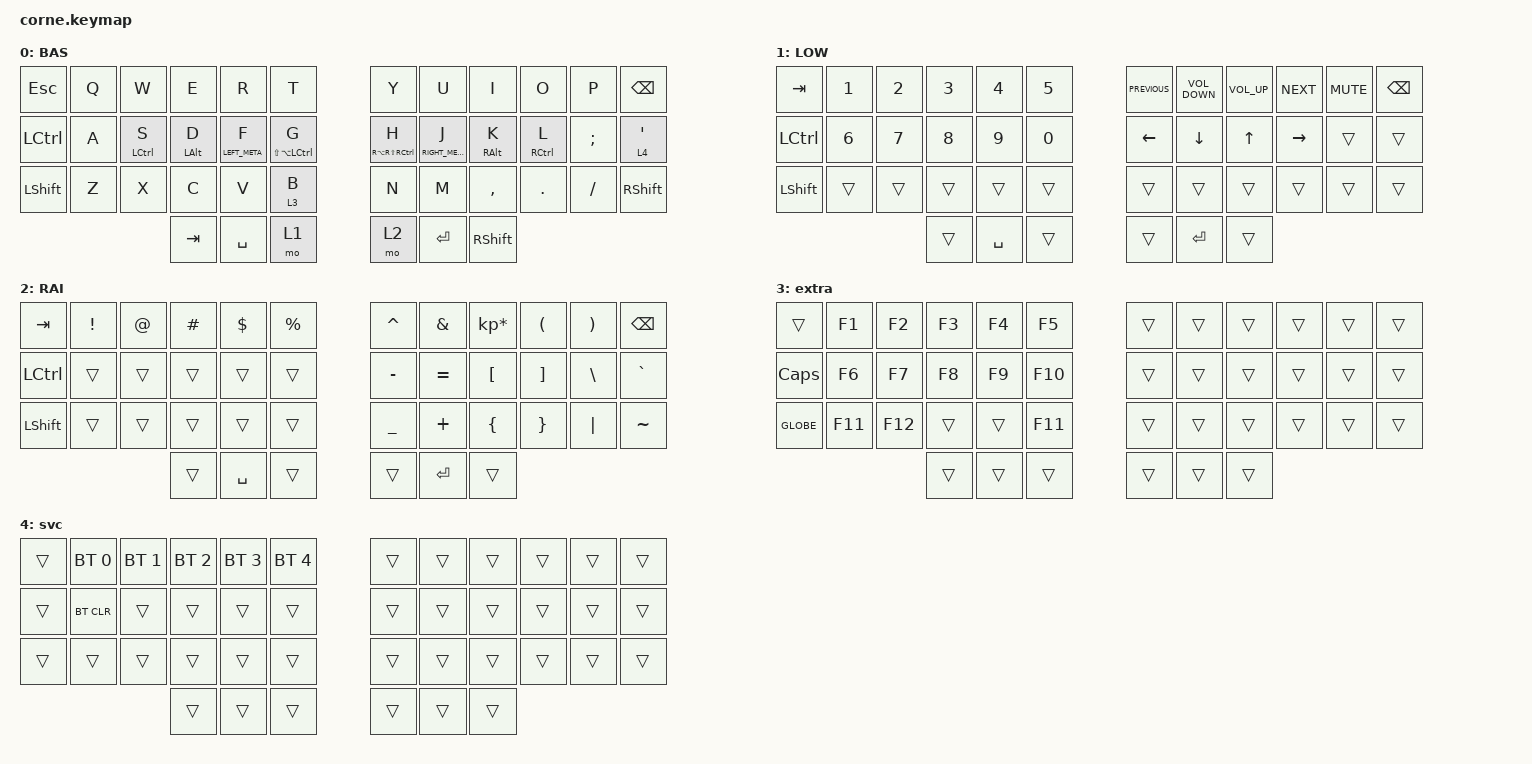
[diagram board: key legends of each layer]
/*
 * Copyright (c) 2020 The ZMK Contributors
 *
 * SPDX-License-Identifier: MIT
 */

#include <dt-bindings/led/led.h>
#include <dt-bindings/zmk/reset.h>
#include <behaviors.dtsi>
#include <dt-bindings/zmk/bt.h>
#include <dt-bindings/zmk/keys.h>

&led_strip { chain-length = <27>; };

/ {
    combos {
        compatible = "zmk,combos";

        esc {
            bindings = <&kp ESCAPE>;
            key-positions = <19 20>;
            layers = <0>;
        };

        play-pause {
            bindings = <&kp C_PLAY_PAUSE>;
            key-positions = <6 7>;
            layers = <0>;
        };

        x-nahui {
            bindings = <&kp LBKT>;
            key-positions = <10 11>;
            layers = <0>;
        };

        exclamation-mark {
            bindings = <&kp EXCLAMATION>;
            key-positions = <1 13>;
            layers = <0>;
        };

        at {
            bindings = <&kp AT_SIGN>;
            key-positions = <2 14>;
            layers = <0>;
        };

        hashtag {
            bindings = <&kp HASH>;
            key-positions = <3 15>;
            layers = <0>;
        };

        dollar {
            bindings = <&kp DOLLAR>;
            key-positions = <4 16>;
            layers = <0>;
        };

        percent {
            bindings = <&kp PERCENT>;
            key-positions = <5 17>;
            layers = <0>;
        };

        caret {
            bindings = <&kp CARET>;
            key-positions = <13 25>;
            layers = <0>;
        };

        ampersand {
            bindings = <&kp AMPERSAND>;
            key-positions = <14 26>;
            layers = <0>;
        };

        star {
            bindings = <&kp ASTERISK>;
            key-positions = <15 27>;
            layers = <0>;
        };

        par-left {
            bindings = <&kp LEFT_PARENTHESIS>;
            key-positions = <16 28>;
            layers = <0>;
        };

        par-right {
            bindings = <&kp RIGHT_PARENTHESIS>;
            key-positions = <17 29>;
            layers = <0>;
        };

        pg-up {
            bindings = <&kp PAGE_UP>;
            key-positions = <6 18>;
            layers = <0>;
        };

        pg-down {
            bindings = <&kp PAGE_DOWN>;
            key-positions = <18 30>;
            layers = <0>;
        };

        minus {
            bindings = <&kp MINUS>;
            key-positions = <7 19>;
            layers = <0>;
        };

        equals {
            bindings = <&kp EQUAL>;
            key-positions = <8 20>;
            layers = <0>;
        };

        slash {
            bindings = <&kp SLASH>;
            key-positions = <9 21>;
            layers = <0>;
        };

        backslash {
            bindings = <&kp BACKSLASH>;
            key-positions = <21 33>;
            layers = <0>;
        };

        left-bracket {
            bindings = <&kp LEFT_BRACKET>;
            key-positions = <19 31>;
            layers = <0>;
        };

        right-bracket {
            bindings = <&kp RIGHT_BRACKET>;
            key-positions = <20 32>;
            layers = <0>;
        };
    };

    keymap {
        compatible = "zmk,keymap";

        base_layer {
            display-name = "BAS";

            // -----------------------------------------------------------------------------------------
            // |  TAB |  Q  |  W  |  E  |  R  |  T  |   |  Y  |  U   |  I  |  O  |  P  | BKSP |
            // | CTRL |  A  |  S  |  D  |  F  |  G  |   |  H  |  J   |  K  |  L  |  ;  |  '   |
            // | SHFT |  Z  |  X  |  C  |  V  |  B  |   |  N  |  M   |  ,  |  .  |  /  | ESC  |
            //                    | GUI | LWR | SPC |   | ENT | RSE  | ALT |

            bindings = <
&kp ESCAPE      &kp Q  &kp W               &kp E           &kp R            &kp T                         &kp Y                        &kp U             &kp I            &kp O                &kp P     &kp BSPC
&kp LCTRL       &kp A  &mt LEFT_CONTROL S  &mt LEFT_ALT D  &mt LEFT_META F  &mt LS(LA(LEFT_CONTROL)) G    &mt RA(RS(RIGHT_CONTROL)) H  &mt RIGHT_META J  &mt RIGHT_ALT K  &mt RIGHT_CONTROL L  &kp SEMI  &lt 4 SQT
&kp LEFT_SHIFT  &kp Z  &kp X               &kp C           &kp V            &lt 3 B                       &kp N                        &kp M             &kp COMMA        &kp DOT              &kp FSLH  &kp RIGHT_SHIFT
                                           &kp TAB         &kp SPACE        &mo 1                         &mo 2                        &kp ENTER         &kp RIGHT_SHIFT
            >;
        };

        lower_layer {
            display-name = "LOW";

            // -----------------------------------------------------------------------------------------
            // |  TAB |  1  |  2  |  3  |  4  |  5  |   |  6  |  7  |  8  |  9  |  0  | BKSP |
            // | BTCLR| BT1 | BT2 | BT3 | BT4 | BT5 |   | LFT | DWN |  UP | RGT |     |      |
            // | SHFT |     |     |     |     |     |   |     |     |     |     |     |      |
            //                    | GUI |     | SPC |   | ENT |     | ALT |

            bindings = <
&kp TAB           &kp N1  &kp N2  &kp N3  &kp N4     &kp N5    &kp C_PREVIOUS  &kp C_VOLUME_DOWN  &kp C_VOLUME_UP  &kp C_NEXT  &kp C_MUTE  &kp BSPC
&kp LEFT_CONTROL  &kp N6  &kp N7  &kp N8  &kp N9     &kp N0    &kp LEFT        &kp DOWN           &kp UP           &kp RIGHT   &trans      &trans
&kp LSHFT         &trans  &trans  &trans  &trans     &trans    &trans          &trans             &trans           &trans      &trans      &trans
                                  &trans  &kp SPACE  &trans    &trans          &kp ENTER          &trans
            >;
        };

        raise_layer {
            display-name = "RAI";

            // -----------------------------------------------------------------------------------------
            // |  TAB |  !  |  @  |  #  |  $  |  %  |   |  ^  |  &  |  *  |  (  |  )  | BKSP |
            // | CTRL |     |     |     |     |     |   |  -  |  =  |  [  |  ]  |  \  |  `   |
            // | SHFT |     |     |     |     |     |   |  _  |  +  |  {  |  }  | "|" |  ~   |
            //                    | GUI |     | SPC |   | ENT |     | ALT |

            bindings = <
&kp TAB    &kp EXCL  &kp AT  &kp HASH  &kp DLLR   &kp PRCNT    &kp CARET  &kp AMPS   &kp KP_MULTIPLY  &kp LPAR  &kp RPAR  &kp BSPC
&kp LCTRL  &trans    &trans  &trans    &trans     &trans       &kp MINUS  &kp EQUAL  &kp LBKT         &kp RBKT  &kp BSLH  &kp GRAVE
&kp LSHFT  &trans    &trans  &trans    &trans     &trans       &kp UNDER  &kp PLUS   &kp LBRC         &kp RBRC  &kp PIPE  &kp TILDE
                             &trans    &kp SPACE  &trans       &trans     &kp ENTER  &trans
            >;
        };

        extra_stuff {
            bindings = <
&trans        &kp F1   &kp F2   &kp F3  &kp F4  &kp F5     &trans  &trans  &trans  &trans  &trans  &trans
&kp CAPSLOCK  &kp F6   &kp F7   &kp F8  &kp F9  &kp F10    &trans  &trans  &trans  &trans  &trans  &trans
&kp GLOBE     &kp F11  &kp F12  &trans  &trans  &kp F11    &trans  &trans  &trans  &trans  &trans  &trans
                                &trans  &trans  &trans     &trans  &trans  &trans
            >;

            label = "extra";
        };

        service_layer {
            bindings = <
&trans  &bt BT_SEL 0  &bt BT_SEL 1  &bt BT_SEL 2  &bt BT_SEL 3  &bt BT_SEL 4    &trans  &trans  &trans  &trans  &trans  &trans
&trans  &bt BT_CLR    &trans        &trans        &trans        &trans          &trans  &trans  &trans  &trans  &trans  &trans
&trans  &trans        &trans        &trans        &trans        &trans          &trans  &trans  &trans  &trans  &trans  &trans
                                    &trans        &trans        &trans          &trans  &trans  &trans
            >;

            label = "svc";
        };
    };
};
